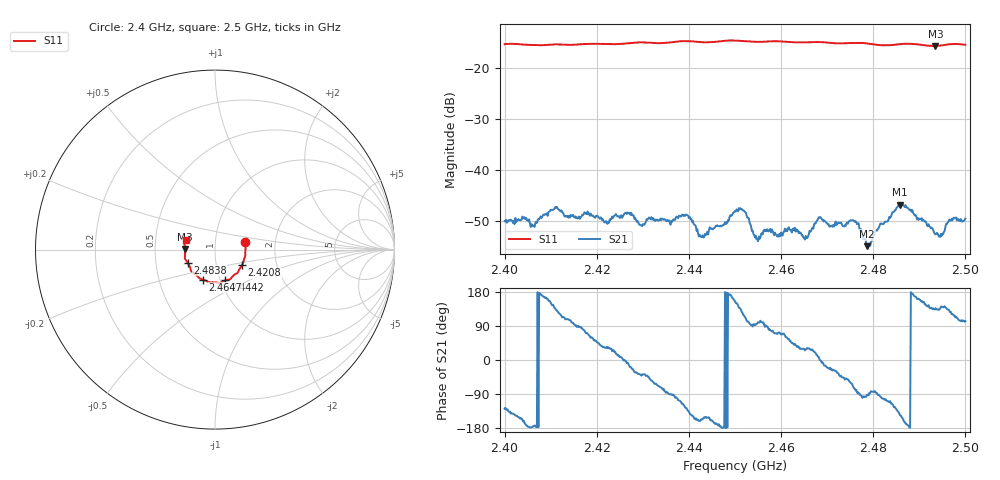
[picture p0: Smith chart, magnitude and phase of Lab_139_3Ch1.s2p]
# Hz S RI R 50
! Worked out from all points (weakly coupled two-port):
!   601 points, 2.4 GHz to 2.5 GHz, reference 50 ohm
!   highest |S21| = -46.82 dB at 2.4858 GHz (marker M1); lowest = -55.0 dB at 2.4787 GHz (marker M2)
!   lowest |S11| = -15.6 dB at 2.4935 GHz (marker M3), VSWR 1.40, Z = 35.8 + j0.206 ohm
!   |S11| at or under -10 dB: start of sweep to end of sweep
!   S12 and S22 are empty: the file has one direction only
!   S11 on the Smith chart (normalised r, x): 2.4 GHz: 1.40, +0.12; 2.4208 GHz: 1.33, -0.24; 2.4442 GHz: 1.05, -0.37; 2.4647 GHz: 0.83, -0.29; 2.4838 GHz: 0.73, -0.11; 2.5 GHz: 0.72, +0.08
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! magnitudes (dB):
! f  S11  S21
! 2.4 GHz  -15.2  -50.1
! 2.4062 GHz  -15.4  -51.0
! 2.411 GHz  -15.3  -47.3
! 2.4167 GHz  -15.2  -49.2
! 2.4208 GHz  -15.2  -49.4
! 2.4333 GHz  -15.0  -50.0
! 2.4393 GHz  -14.6  -48.8
! 2.4425 GHz  -14.8  -53.0
! 2.4442 GHz  -14.9  -52.7
! 2.45 GHz  -14.5  -48.1
! 2.452 GHz  -14.7  -48.1
! 2.4548 GHz  -14.8  -53.5
! 2.4647 GHz  -14.9  -52.9
! 2.4667 GHz  -14.8  -51.5
! 2.4683 GHz  -14.8  -49.4
! 2.4757 GHz  -15.0  -49.9
! 2.4787 GHz  -15.1  -55.0
! 2.4833 GHz  -15.5  -49.7
! 2.4838 GHz  -15.4  -49.1
! 2.4858 GHz  -15.2  -46.8
! 2.4935 GHz  -15.6  -52.7
! 2.5 GHz  -15.4  -49.6
